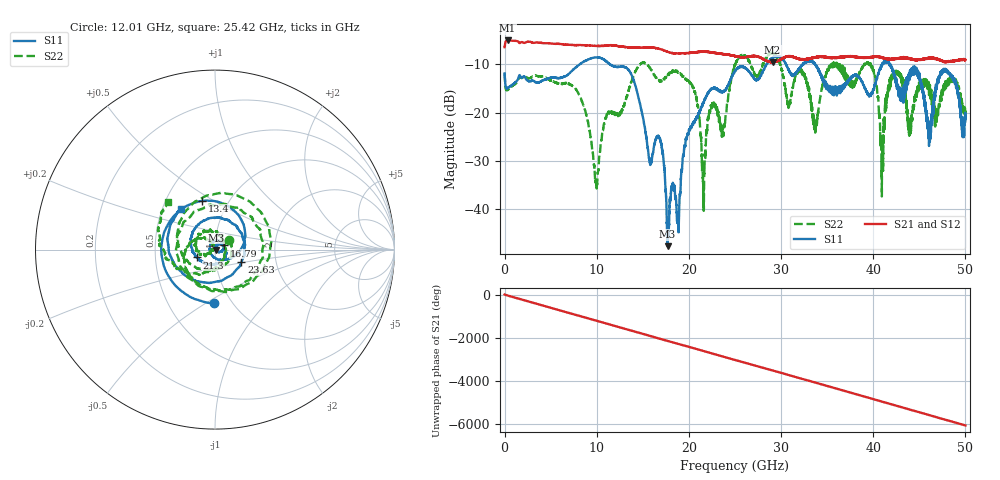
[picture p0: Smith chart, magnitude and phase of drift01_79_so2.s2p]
!Created with skrf (http://scikit-rf.org).
# Hz S RI R 50.0
!freq ReS11 ImS11 ReS21 ImS21 ReS12 ImS12 ReS22 ImS22
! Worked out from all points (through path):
!   10001 points, 300 kHz to 50 GHz, reference 50 ohm
!   highest |S21| = -5.05 dB at 325.3 MHz (marker M1); lowest = -9.6 dB at 29.08 GHz (marker M2)
!   group delay of S21, straight-line fit = 336 ps
!   lowest |S11| = -47.7 dB at 17.68 GHz (marker M3), VSWR 1.01, Z = 50.4 - j0.144 ohm
!   |S11| at or under -10 dB: start of sweep to 8.153 GHz; 11.43 GHz to 28.42 GHz (16.99 GHz wide, 85.3 % of centre); 41.84 GHz to end of sweep (the widest 3 of 14)
!   |S22| runs from -40.4 to -7.6 dB; largest |S21 - S12| = 0.013
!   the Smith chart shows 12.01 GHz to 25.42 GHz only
!   S11 on the Smith chart (normalised r, x): 12.01 GHz: 0.83, -0.55; 13.4 GHz: 0.75, +0.44; 16.79 GHz: 1.10, +0.05; 21.3 GHz: 0.82, -0.07; 23.63 GHz: 1.33, -0.19; 25.42 GHz: 0.62, +0.31
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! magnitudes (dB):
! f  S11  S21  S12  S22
! 300 kHz  -11.9  -6.5  -6.5  -11.8
! 325.3 MHz  -14.9  -5.1  -5.1  -15.4
! 8.335 GHz  -9.7  -6.0  -6.0  -17.4
! 9.95 GHz  -8.5  -6.2  -6.2  -34.9
! 12.01 GHz  -10.5  -6.1  -6.1  -20.5
! 13.4 GHz  -11.0  -6.5  -6.5  -15.8
! 15.76 GHz  -30.4  -6.5  -6.5  -10.7
! 16.67 GHz  -24.8  -6.7  -6.7  -13.3
! 16.79 GHz  -25.3  -6.8  -6.8  -13.3
! 17.68 GHz  -47.7  -7.4  -7.4  -12.4
! 20.42 GHz  -22.4  -7.6  -7.6  -14.9
! 21.3 GHz  -19.3  -7.4  -7.4  -24.8
! 23.63 GHz  -15.8  -7.9  -7.9  -24.3
! 25 GHz  -11.4  -8.3  -8.3  -10.1
! 25.42 GHz  -10.6  -8.5  -8.4  -8.6
! 29.08 GHz  -8.7  -9.6  -9.6  -7.8
! 33.34 GHz  -9.5  -8.7  -8.7  -19.4
! 39.48 GHz  -16.2  -8.6  -8.6  -9.8
! 40.98 GHz  -10.0  -8.6  -8.7  -27.0
! 41.67 GHz  -9.5  -8.8  -8.9  -14.3
! 48.04 GHz  -11.6  -9.4  -9.4  -13.7
! 50 GHz  -21.2  -9.1  -9.1  -20.4
